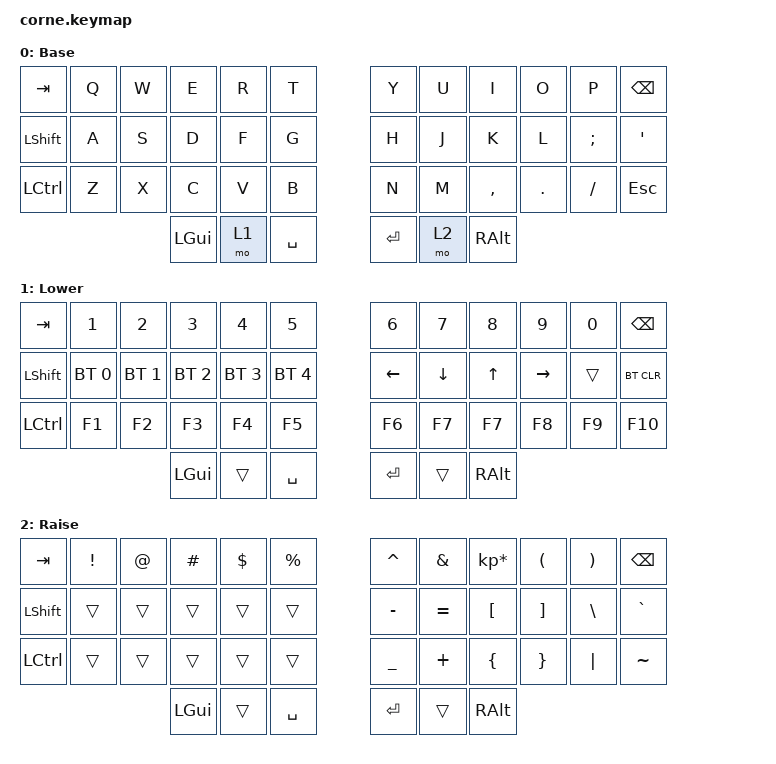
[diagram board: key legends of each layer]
/*
 * Copyright (c) 2020 The ZMK Contributors
 *
 * SPDX-License-Identifier: MIT
 */

#include <behaviors.dtsi>
#include <dt-bindings/zmk/bt.h>
#include <dt-bindings/zmk/keys.h>

/ {
    keymap {
        compatible = "zmk,keymap";

        default_layer {
            // -----------------------------------------------------------------------------------------
            // |  TAB |  Q  |  W  |  E  |  R  |  T  |   |  Y  |  U   |  I  |  O  |  P  | BKSP |
            // | SHFT |  A  |  S  |  D  |  F  |  G  |   |  H  |  J   |  K  |  L  |  ;  |  '   |
            // | CTRL |  Z  |  X  |  C  |  V  |  B  |   |  N  |  M   |  ,  |  .  |  /  | ESC  |
            //                    | GUI | LWR | SPC |   | ENT | RSE  | ALT |
            
	    display-name = "Base";
            bindings = <
&kp TAB    &kp Q  &kp W  &kp E     &kp R  &kp T        &kp Y    &kp U  &kp I      &kp O    &kp P     &kp BSPC
&kp LSHFT  &kp A  &kp S  &kp D     &kp F  &kp G        &kp H    &kp J  &kp K      &kp L    &kp SEMI  &kp SQT
&kp LCTRL  &kp Z  &kp X  &kp C     &kp V  &kp B        &kp N    &kp M  &kp COMMA  &kp DOT  &kp FSLH  &kp ESC
                         &kp LGUI  &mo 1  &kp SPACE    &kp RET  &mo 2  &kp RALT
            >;
        };

        lower_layer {
            // -----------------------------------------------------------------------------------------
            // |  TAB |  1  |  2  |  3  |  4  |  5  |   |  6  |  7  |  8  |  9  |  0  | BKSP |
            // | SHFT | BT1 | BT2 | BT3 | BT4 | BT5 |   | LFT | DWN |  UP | RGT |     |      |
            // | CTRL |BTCLR|     |     |     |     |   |     |     |     |     |     |      |
            //                    | GUI |     | SPC |   | ENT |     | ALT |

            display-name = "Lower";
            bindings = <
&kp TAB    &kp N1        &kp N2        &kp N3        &kp N4        &kp N5          &kp N6    &kp N7    &kp N8    &kp N9     &kp N0  &kp BSPC
&kp LSHFT  &bt BT_SEL 0  &bt BT_SEL 1  &bt BT_SEL 2  &bt BT_SEL 3  &bt BT_SEL 4    &kp LEFT  &kp DOWN  &kp UP    &kp RIGHT  &trans  &bt BT_CLR
&kp LCTRL  &kp F1        &kp F2        &kp F3        &kp F4        &kp F5          &kp F6    &kp F7    &kp F7    &kp F8     &kp F9  &kp F10
                                       &kp LGUI      &trans        &kp SPACE       &kp RET   &trans    &kp RALT
            >;
        };

        raise_layer {
            // -----------------------------------------------------------------------------------------
            // |  TAB |  !  |  @  |  #  |  $  |  %  |   |  ^  |  &  |  *  |  (  |  )  | BKSP |
            // | SHFT |     |     |     |     |     |   |  -  |  =  |  [  |  ]  |  \  |  `   |
            // | CTRL |     |     |     |     |     |   |  _  |  +  |  {  |  }  | "|" |  ~   |
            //                    | GUI |     | SPC |   | ENT |     | ALT |

            display-name = "Raise";
            bindings = <
&kp TAB    &kp EXCL  &kp AT  &kp HASH  &kp DLLR  &kp PRCNT    &kp CARET  &kp AMPS   &kp KP_MULTIPLY  &kp LPAR  &kp RPAR  &kp BSPC
&kp LSHFT  &trans    &trans  &trans    &trans    &trans       &kp MINUS  &kp EQUAL  &kp LBKT         &kp RBKT  &kp BSLH  &kp GRAVE
&kp LCTRL  &trans    &trans  &trans    &trans    &trans       &kp UNDER  &kp PLUS   &kp LBRC         &kp RBRC  &kp PIPE  &kp TILDE
                             &kp LGUI  &trans    &kp SPACE    &kp RET    &trans     &kp RALT
            >;
        };


         extra_1 {
                 status = "reserved";
         };

         extra_2 {
                 status = "reserved";
         };

         extra_3 {
                 status = "reserved";
         };
    };
};
